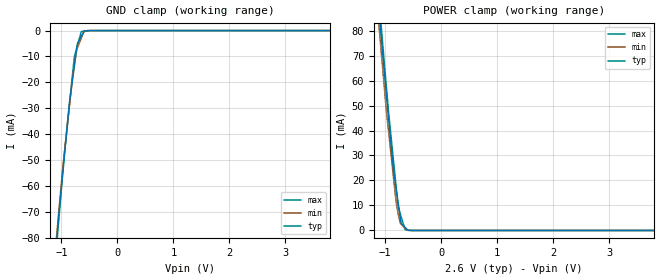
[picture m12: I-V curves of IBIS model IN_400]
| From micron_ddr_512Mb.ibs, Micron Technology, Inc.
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|   MODEL IN_400
[Model]   IN_400
Model_type   Input
Vinl = 0.990V
Vinh = 1.610V
|   typ   min   max
C_comp   1.25pF   1.10pF   1.40pF
[Model Spec]
| Input threshold voltage corners
Vinh   1.610V   1.560V   1.660V
Vinl   0.990V   0.940V   1.040V
| Overshoot/Undershoot
S_overshoot_high   2.900V   2.800V   3.000V
S_overshoot_low   -0.300V   -0.300V   -0.300V
D_overshoot_high   4.100V   4.000V   4.200V
D_overshoot_low   -1.500V   -1.500V   -1.500V
D_overshoot_time   1.667n   1.667n   1.667n
[Receiver Thresholds]
Vth   =  1.300V
Vth_min  =  1.274V
Vth_max  =  1.326V
Vinh_ac  =  0.310V
Vinh_dc  =  0.150V
Vinl_ac  = -0.310V
Vinl_dc  = -0.150V
Tslew_ac =  20.000ns |Not specified, so set to high value
Threshold_sensitivity = 0.50
Reference_supply Power_clamp_ref
[Voltage Range]   2.600V   2.500V   2.700V
[POWER Clamp Reference]   2.600V   2.500V   2.700V
| Junction Temperature (Ambient temp is 25C typ, 70C min, 0C max)
[Temperature Range]   40.0   85.0   0.0
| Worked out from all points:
|   GND clamp passes 1 mA (typ) near -0.61 V on its own axis
|   POWER clamp passes 1 mA (typ) near -0.63 V on its own axis
[GND Clamp]
|   Voltage   I(typ)   I(min)   I(max)
-2.6V     -500.2mA   -488.3mA   -516mA
-1.1V     -84.51mA   -82.58mA   -86.78mA
-1.065V   -75.72mA   -74.15mA   -77.5mA
-980mV    -55.85mA   -53.7mA    -55.69mA
-940mV    -46.73mA   -45.7mA    -45.78mA
-860mV    -28.47mA   -29.72mA   -29.01mA
-770mV    -13.71mA   -13.21mA   -10.17mA
-715mV    -4.995mA   -6.705mA   -5.767mA
-645mV    -2.226mA   -2.878mA   -397.3uA
-600mV    -446.5uA   -422.8uA   -224.1uA
-505mV    -29.17uA   -28.07uA   -6.175uA
5.2V      0A         0A         0A
[POWER Clamp]
|   Voltage   I(typ)   I(min)   I(max)
-2.6V     508mA      497mA      515.5mA
-1.105V   86.49mA    80.13mA    90.79mA
-1.065V   75.95mA    69.85mA    80.02mA
-980mV    54.85mA    48mA       57.66mA
-940mV    45.11mA    39.61mA    47.4mA
-860mV    25.62mA    22.84mA    29.69mA
-805mV    16.73mA    11.39mA    17.53mA
-770mV    11.24mA    6.701mA    9.793mA
-715mV    2.82mA     2.472mA    5.514mA
-645mV    1.242mA    1.021mA    309.8uA
-490mV    1.647uA    3.942uA    2.111uA
5.2V      0A         0A         0A
